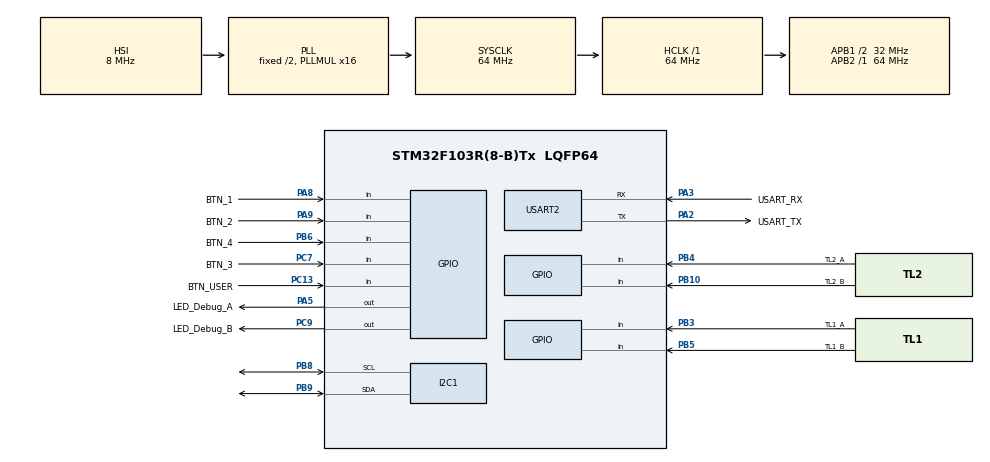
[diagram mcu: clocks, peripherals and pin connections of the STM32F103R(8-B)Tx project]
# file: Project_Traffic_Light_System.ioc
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Mcu.Family=STM32F1
Mcu.Name=STM32F103R(8-B)Tx
Mcu.Package=LQFP64
NVIC.I2C1_ER_IRQn=true\:1\:0\:false\:false\:true\:true\:true
NVIC.I2C1_EV_IRQn=true\:1\:0\:false\:false\:true\:true\:true
NVIC.PriorityGroup=NVIC_PRIORITYGROUP_4
NVIC.TIM2_IRQn=true\:0\:0\:false\:false\:true\:true\:true
PA13.GPIO_Label=TMS
PA13.Mode=Serial_Wire
PA13.Signal=SYS_JTMS-SWDIO
PA14.GPIO_Label=TCK
PA14.Mode=Serial_Wire
PA14.Signal=SYS_JTCK-SWCLK
PA2.GPIO_Label=USART_TX
PA2.GPIO_Mode=GPIO_MODE_AF_PP
PA2.GPIO_PuPd=GPIO_NOPULL
PA2.GPIO_Speed=GPIO_SPEED_FREQ_LOW
PA2.Mode=Asynchronous
PA2.Signal=USART2_TX
PA3.GPIO_Label=USART_RX
PA3.GPIO_Mode=GPIO_MODE_AF_PP
PA3.GPIO_PuPd=GPIO_NOPULL
PA3.GPIO_Speed=GPIO_SPEED_FREQ_LOW
PA3.Mode=Asynchronous
PA3.Signal=USART2_RX
PA5.GPIO_Label=LED_Debug_A
PA5.GPIO_ModeDefaultOutputPP=GPIO_MODE_OUTPUT_PP
PA5.GPIO_PuPd=GPIO_NOPULL
PA5.GPIO_Speed=GPIO_SPEED_FREQ_LOW
PA5.Signal=GPIO_Output
PA8.GPIO_Label=BTN_1
PA8.Signal=GPIO_Input
PA9.GPIO_Label=BTN_2
PA9.Signal=GPIO_Input
PB10.GPIO_Label=TL2_B
PB10.Signal=GPIO_Input
PB3.GPIO_Label=TL1_A
PB3.Signal=GPIO_Input
PB4.GPIO_Label=TL2_A
PB4.Signal=GPIO_Input
PB5.GPIO_Label=TL1_B
PB5.Signal=GPIO_Input
PB6.GPIO_Label=BTN_4
PB6.Signal=GPIO_Input
PB8.Mode=I2C
PB8.Signal=I2C1_SCL
PB9.Mode=I2C
PB9.Signal=I2C1_SDA
PC13-TAMPER-RTC.GPIO_Label=BTN_USER
PC13-TAMPER-RTC.Signal=GPIO_Input
PC14-OSC32_IN.Mode=LSE-External-Oscillator
PC14-OSC32_IN.Signal=RCC_OSC32_IN
PC15-OSC32_OUT.Mode=LSE-External-Oscillator
PC15-OSC32_OUT.Signal=RCC_OSC32_OUT
PC7.GPIO_Label=BTN_3
PC7.Signal=GPIO_Input
PC9.GPIO_Label=LED_Debug_B
PC9.Signal=GPIO_Output
PD0-OSC_IN.Mode=HSE-External-Clock-Source
PD0-OSC_IN.Signal=RCC_OSC_IN
PD1-OSC_OUT.Mode=HSE-External-Clock-Source
PD1-OSC_OUT.Signal=RCC_OSC_OUT
ProjectManager.HeapSize=0x200
ProjectManager.StackSize=0x400
ProjectManager.TargetToolchain=STM32CubeIDE
RCC.AHBFreq_Value=64000000
RCC.APB1CLKDivider=RCC_HCLK_DIV2
RCC.APB1Freq_Value=32000000
RCC.APB1TimFreq_Value=64000000
RCC.APB2Freq_Value=64000000
RCC.APB2TimFreq_Value=64000000
RCC.HCLKFreq_Value=64000000
RCC.PLLMUL=RCC_PLL_MUL16
RCC.RTCClockSelection=RCC_RTCCLKSOURCE_LSE
RCC.SYSCLKFreq_VALUE=64000000
RCC.SYSCLKSource=RCC_SYSCLKSOURCE_PLLCLK
RCC.USBFreq_Value=64000000
TIM2.Period=79
TIM2.Prescaler=7999
USART2.VirtualMode=VM_ASYNC
VP_TIM2_VS_ClockSourceINT.Mode=Internal
board=NUCLEO-F103RB

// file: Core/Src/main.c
/* USER CODE BEGIN Header */
/**
  ******************************************************************************
  * @file           : main.c
  * @brief          : Main program body
  ******************************************************************************
  * @attention
  *
  * <h2><center>&copy; Copyright (c) 2026 STMicroelectronics.
  * All rights reserved.</center></h2>
  *
  * This software component is licensed by ST under BSD 3-Clause license,
  * the "License"; You may not use this file except in compliance with the
  * License. You may obtain a copy of the License at:
  *                        opensource.org/licenses/BSD-3-Clause
  *
  ******************************************************************************
  */
/* USER CODE END Header */
#include "main.h"

/* USER CODE BEGIN Includes */
#include <stddef.h>
#include "board_profile.h"
#include "scheduler.h"
#include "timing_rules.h"
#ifdef CO3009_BOARD_DIAGNOSTIC
#include "board_diagnostic.h"
#else
#include "app_runtime.h"
#include "i2c_stm32.h"
#include "lcd_pcf8574.h"
#include "traffic_light.h"
#endif
/* USER CODE END Includes */

/* USER CODE BEGIN PD */
enum { CO3009_SCHEDULER_TICK_MS = 10U };
_Static_assert(CO3009_SCHEDULER_TICK_MS == FSM_AUTOMATIC_TICK_MS,
               "Automatic tick must match TIM2");
/* USER CODE END PD */

I2C_HandleTypeDef hi2c1;

TIM_HandleTypeDef htim2;

UART_HandleTypeDef huart2;

/* USER CODE BEGIN PV */
static HAL_StatusTypeDef co3009_i2c_init_status;
#ifndef CO3009_BOARD_DIAGNOSTIC
static i2c_stm32_t co3009_i2c;
static lcd_pcf8574_t co3009_lcd;
static app_runtime_services_t co3009_services;
#endif
/* USER CODE END PV */

void SystemClock_Config(void);
static void MX_GPIO_Init(void);
static void MX_USART2_UART_Init(void);
static void MX_I2C1_Init(void);
static void MX_TIM2_Init(void);

/* USER CODE BEGIN 0 */
static bool co3009_tim2_tick_matches(void)
{
  RCC_ClkInitTypeDef clocks = {0};
  uint32_t flash_latency;

  HAL_RCC_GetClockConfig(&clocks, &flash_latency);
  uint64_t timer_hz = HAL_RCC_GetPCLK1Freq();
  if (clocks.APB1CLKDivider != RCC_HCLK_DIV1) {
    timer_hz *= 2U;
  }

  const uint64_t timer_counts =
      ((uint64_t)htim2.Init.Prescaler + 1U) * ((uint64_t)htim2.Init.Period + 1U);
  return timer_hz != 0U && timer_counts * 1000U == timer_hz * CO3009_SCHEDULER_TICK_MS;
}

#ifndef CO3009_BOARD_DIAGNOSTIC
static uint32_t co3009_now_ms(void *context)
{
  (void)context;
  return HAL_GetTick();
}

#if !CO3009_TRAFFIC_PROFILE_ENABLED
static void co3009_discard_traffic_write(uint16_t pins, bool high)
{
  (void)pins;
  (void)high;
}
#endif

static app_status_t co3009_start_application(void)
{
#if !CO3009_TRAFFIC_PROFILE_ENABLED
  const app_status_t bind_status = traffic_light_bind_io(co3009_discard_traffic_write);
  if (bind_status != APP_OK) {
    return bind_status;
  }
#endif

  i2c_async_t bus;
  lcd_config_t lcd;
  app_runtime_config_t config = {
    .buttons_enabled = CO3009_BUTTON_ACTIVE_LOW_MASK != CO3009_BUTTON_MASK_UNVERIFIED,
    .button_active_low_mask = CO3009_BUTTON_ACTIVE_LOW_MASK,
    .clock_ms = co3009_now_ms
  };
  if (co3009_i2c_init_status == HAL_OK && i2c_stm32_init(&co3009_i2c, &hi2c1, &bus) == APP_OK) {
    config.bus = &bus;
    const lcd_pcf8574_profile_t *profile = board_profile_lcd();
    if (profile != NULL
        && lcd_pcf8574_configure(&co3009_lcd, &bus, profile, co3009_now_ms, NULL, &lcd) == APP_OK) {
      config.lcd = &lcd;
    }
  }
  return app_runtime_start(&config, &co3009_services);
}
#endif
/* USER CODE END 0 */

int main(void)
{

  /* MCU Configuration--------------------------------------------------------*/

  /* Reset of all peripherals, Initializes the Flash interface and the Systick. */
  HAL_Init();

  /* Configure the system clock */
  SystemClock_Config();

  /* Initialize all configured peripherals */
  MX_GPIO_Init();
  MX_USART2_UART_Init();
  MX_I2C1_Init();
  MX_TIM2_Init();
  /* USER CODE BEGIN 2 */
  if (!co3009_tim2_tick_matches()) {
    Error_Handler();
  }

#ifdef CO3009_BOARD_DIAGNOSTIC
  if (board_diagnostic_start(co3009_i2c_init_status == HAL_OK ? &hi2c1 : NULL) != APP_OK) {
    Error_Handler();
  }
#else
  board_profile_prepare_traffic_gpio();
  if (co3009_start_application() != APP_OK) {
    const traffic_state_t safe = {TRAFFIC_RED, TRAFFIC_RED};
    (void)traffic_light_apply(&safe);
    Error_Handler();
  }
#endif

  __HAL_TIM_SET_COUNTER(&htim2, 0U);
  __HAL_TIM_CLEAR_FLAG(&htim2, TIM_FLAG_UPDATE);
  if (HAL_TIM_Base_Start_IT(&htim2) != HAL_OK) {
#ifndef CO3009_BOARD_DIAGNOSTIC
    const traffic_state_t safe = {TRAFFIC_RED, TRAFFIC_RED};
    (void)traffic_light_apply(&safe);
#endif
    Error_Handler();
  }
  /* USER CODE END 2 */

  /* Infinite loop */
  while (1)
  {

    /* USER CODE BEGIN 3 */
    SCH_Dispatch_Tasks();
  }
  /* USER CODE END 3 */
}

void SystemClock_Config(void)
{
  RCC_OscInitTypeDef RCC_OscInitStruct = {0};
  RCC_ClkInitTypeDef RCC_ClkInitStruct = {0};

  /** Initializes the RCC Oscillators according to the specified parameters
  * in the RCC_OscInitTypeDef structure.
  */
  RCC_OscInitStruct.OscillatorType = RCC_OSCILLATORTYPE_HSI;
  RCC_OscInitStruct.HSIState = RCC_HSI_ON;
  RCC_OscInitStruct.HSICalibrationValue = RCC_HSICALIBRATION_DEFAULT;
  RCC_OscInitStruct.PLL.PLLState = RCC_PLL_ON;
  RCC_OscInitStruct.PLL.PLLSource = RCC_PLLSOURCE_HSI_DIV2;
  RCC_OscInitStruct.PLL.PLLMUL = RCC_PLL_MUL16;
  if (HAL_RCC_OscConfig(&RCC_OscInitStruct) != HAL_OK)
  {
    Error_Handler();
  }
  /** Initializes the CPU, AHB and APB buses clocks
  */
  RCC_ClkInitStruct.ClockType = RCC_CLOCKTYPE_HCLK|RCC_CLOCKTYPE_SYSCLK
                              |RCC_CLOCKTYPE_PCLK1|RCC_CLOCKTYPE_PCLK2;
  RCC_ClkInitStruct.SYSCLKSource = RCC_SYSCLKSOURCE_PLLCLK;
  RCC_ClkInitStruct.AHBCLKDivider = RCC_SYSCLK_DIV1;
  RCC_ClkInitStruct.APB1CLKDivider = RCC_HCLK_DIV2;
  RCC_ClkInitStruct.APB2CLKDivider = RCC_HCLK_DIV1;

  if (HAL_RCC_ClockConfig(&RCC_ClkInitStruct, FLASH_LATENCY_2) != HAL_OK)
  {
    Error_Handler();
  }
}

static void MX_I2C1_Init(void)
{

  hi2c1.Instance = I2C1;
  hi2c1.Init.ClockSpeed = 100000;
  hi2c1.Init.DutyCycle = I2C_DUTYCYCLE_2;
  hi2c1.Init.OwnAddress1 = 0;
  hi2c1.Init.AddressingMode = I2C_ADDRESSINGMODE_7BIT;
  hi2c1.Init.DualAddressMode = I2C_DUALADDRESS_DISABLE;
  hi2c1.Init.OwnAddress2 = 0;
  hi2c1.Init.GeneralCallMode = I2C_GENERALCALL_DISABLE;
  hi2c1.Init.NoStretchMode = I2C_NOSTRETCH_DISABLE;
  /* USER CODE BEGIN I2C1_Init 2 */
  co3009_i2c_init_status = HAL_I2C_Init(&hi2c1);
  /* USER CODE END I2C1_Init 2 */

}

static void MX_TIM2_Init(void)
{

  TIM_ClockConfigTypeDef sClockSourceConfig = {0};
  TIM_MasterConfigTypeDef sMasterConfig = {0};

  htim2.Instance = TIM2;
  htim2.Init.Prescaler = 7999;
  htim2.Init.CounterMode = TIM_COUNTERMODE_UP;
  htim2.Init.Period = 79;
  htim2.Init.ClockDivision = TIM_CLOCKDIVISION_DIV1;
  htim2.Init.AutoReloadPreload = TIM_AUTORELOAD_PRELOAD_DISABLE;
  if (HAL_TIM_Base_Init(&htim2) != HAL_OK)
  {
    Error_Handler();
  }
  sClockSourceConfig.ClockSource = TIM_CLOCKSOURCE_INTERNAL;
  if (HAL_TIM_ConfigClockSource(&htim2, &sClockSourceConfig) != HAL_OK)
  {
    Error_Handler();
  }
  sMasterConfig.MasterOutputTrigger = TIM_TRGO_RESET;
  sMasterConfig.MasterSlaveMode = TIM_MASTERSLAVEMODE_DISABLE;
  if (HAL_TIMEx_MasterConfigSynchronization(&htim2, &sMasterConfig) != HAL_OK)
  {
    Error_Handler();
  }

}

static void MX_USART2_UART_Init(void)
{

  huart2.Instance = USART2;
  huart2.Init.BaudRate = 115200;
  huart2.Init.WordLength = UART_WORDLENGTH_8B;
  huart2.Init.StopBits = UART_STOPBITS_1;
  huart2.Init.Parity = UART_PARITY_NONE;
  huart2.Init.Mode = UART_MODE_TX_RX;
  huart2.Init.HwFlowCtl = UART_HWCONTROL_NONE;
  huart2.Init.OverSampling = UART_OVERSAMPLING_16;
  if (HAL_UART_Init(&huart2) != HAL_OK)
  {
    Error_Handler();
  }

}

static void MX_GPIO_Init(void)
{
  GPIO_InitTypeDef GPIO_InitStruct = {0};

  /* GPIO Ports Clock Enable */
  __HAL_RCC_GPIOC_CLK_ENABLE();
  __HAL_RCC_GPIOD_CLK_ENABLE();
  __HAL_RCC_GPIOA_CLK_ENABLE();
  __HAL_RCC_GPIOB_CLK_ENABLE();

  /*Configure GPIO pin Output Level */
  HAL_GPIO_WritePin(LED_Debug_A_GPIO_Port, LED_Debug_A_Pin, GPIO_PIN_RESET);

  /*Configure GPIO pin Output Level */
  HAL_GPIO_WritePin(LED_Debug_B_GPIO_Port, LED_Debug_B_Pin, GPIO_PIN_RESET);

  /*Configure GPIO pins : BTN_USER_Pin BTN_3_Pin */
  GPIO_InitStruct.Pin = BTN_USER_Pin|BTN_3_Pin;
  GPIO_InitStruct.Mode = GPIO_MODE_INPUT;
  GPIO_InitStruct.Pull = GPIO_NOPULL;
  HAL_GPIO_Init(GPIOC, &GPIO_InitStruct);

  /*Configure GPIO pin : LED_Debug_A_Pin */
  GPIO_InitStruct.Pin = LED_Debug_A_Pin;
  GPIO_InitStruct.Mode = GPIO_MODE_OUTPUT_PP;
  GPIO_InitStruct.Pull = GPIO_NOPULL;
  GPIO_InitStruct.Speed = GPIO_SPEED_FREQ_LOW;
  HAL_GPIO_Init(LED_Debug_A_GPIO_Port, &GPIO_InitStruct);

  /*Configure GPIO pins : TL2_B_Pin TL1_A_Pin TL2_A_Pin TL1_B_Pin */
  GPIO_InitStruct.Pin = TL2_B_Pin|TL1_A_Pin|TL2_A_Pin|TL1_B_Pin;
  GPIO_InitStruct.Mode = GPIO_MODE_INPUT;
  GPIO_InitStruct.Pull = GPIO_NOPULL;
  HAL_GPIO_Init(GPIOB, &GPIO_InitStruct);

  /*Configure GPIO pin : LED_Debug_B_Pin */
  GPIO_InitStruct.Pin = LED_Debug_B_Pin;
  GPIO_InitStruct.Mode = GPIO_MODE_OUTPUT_PP;
  GPIO_InitStruct.Pull = GPIO_NOPULL;
  GPIO_InitStruct.Speed = GPIO_SPEED_FREQ_LOW;
  HAL_GPIO_Init(LED_Debug_B_GPIO_Port, &GPIO_InitStruct);

  /*Configure GPIO pins : BTN_1_Pin BTN_2_Pin */
  GPIO_InitStruct.Pin = BTN_1_Pin|BTN_2_Pin;
  GPIO_InitStruct.Mode = GPIO_MODE_INPUT;
  GPIO_InitStruct.Pull = GPIO_NOPULL;
  HAL_GPIO_Init(GPIOA, &GPIO_InitStruct);

  /*Configure GPIO pin : BTN_4_Pin */
  GPIO_InitStruct.Pin = BTN_4_Pin;
  GPIO_InitStruct.Mode = GPIO_MODE_INPUT;
  GPIO_InitStruct.Pull = GPIO_NOPULL;
  HAL_GPIO_Init(BTN_4_GPIO_Port, &GPIO_InitStruct);

}

/* USER CODE BEGIN 4 */
void HAL_TIM_PeriodElapsedCallback(TIM_HandleTypeDef *htim)
{
  if (htim->Instance == TIM2) {
    SCH_Update();
  }
}
#ifndef CO3009_BOARD_DIAGNOSTIC
void HAL_I2C_MasterTxCpltCallback(I2C_HandleTypeDef *hi2c)
{
  i2c_stm32_notify(&co3009_i2c, hi2c, I2C_STM32_TX_COMPLETE);
}

void HAL_I2C_MasterRxCpltCallback(I2C_HandleTypeDef *hi2c)
{
  i2c_stm32_notify(&co3009_i2c, hi2c, I2C_STM32_RX_COMPLETE);
}

void HAL_I2C_ErrorCallback(I2C_HandleTypeDef *hi2c)
{
  i2c_stm32_notify(&co3009_i2c, hi2c, I2C_STM32_ERROR);
}

void HAL_I2C_AbortCpltCallback(I2C_HandleTypeDef *hi2c)
{
  i2c_stm32_notify(&co3009_i2c, hi2c, I2C_STM32_ABORT_COMPLETE);
}
#endif
/* USER CODE END 4 */

void Error_Handler(void)
{
  __disable_irq();
  while (1)
  {
  }
}

/************************ (C) COPYRIGHT STMicroelectronics *****END OF FILE****/
